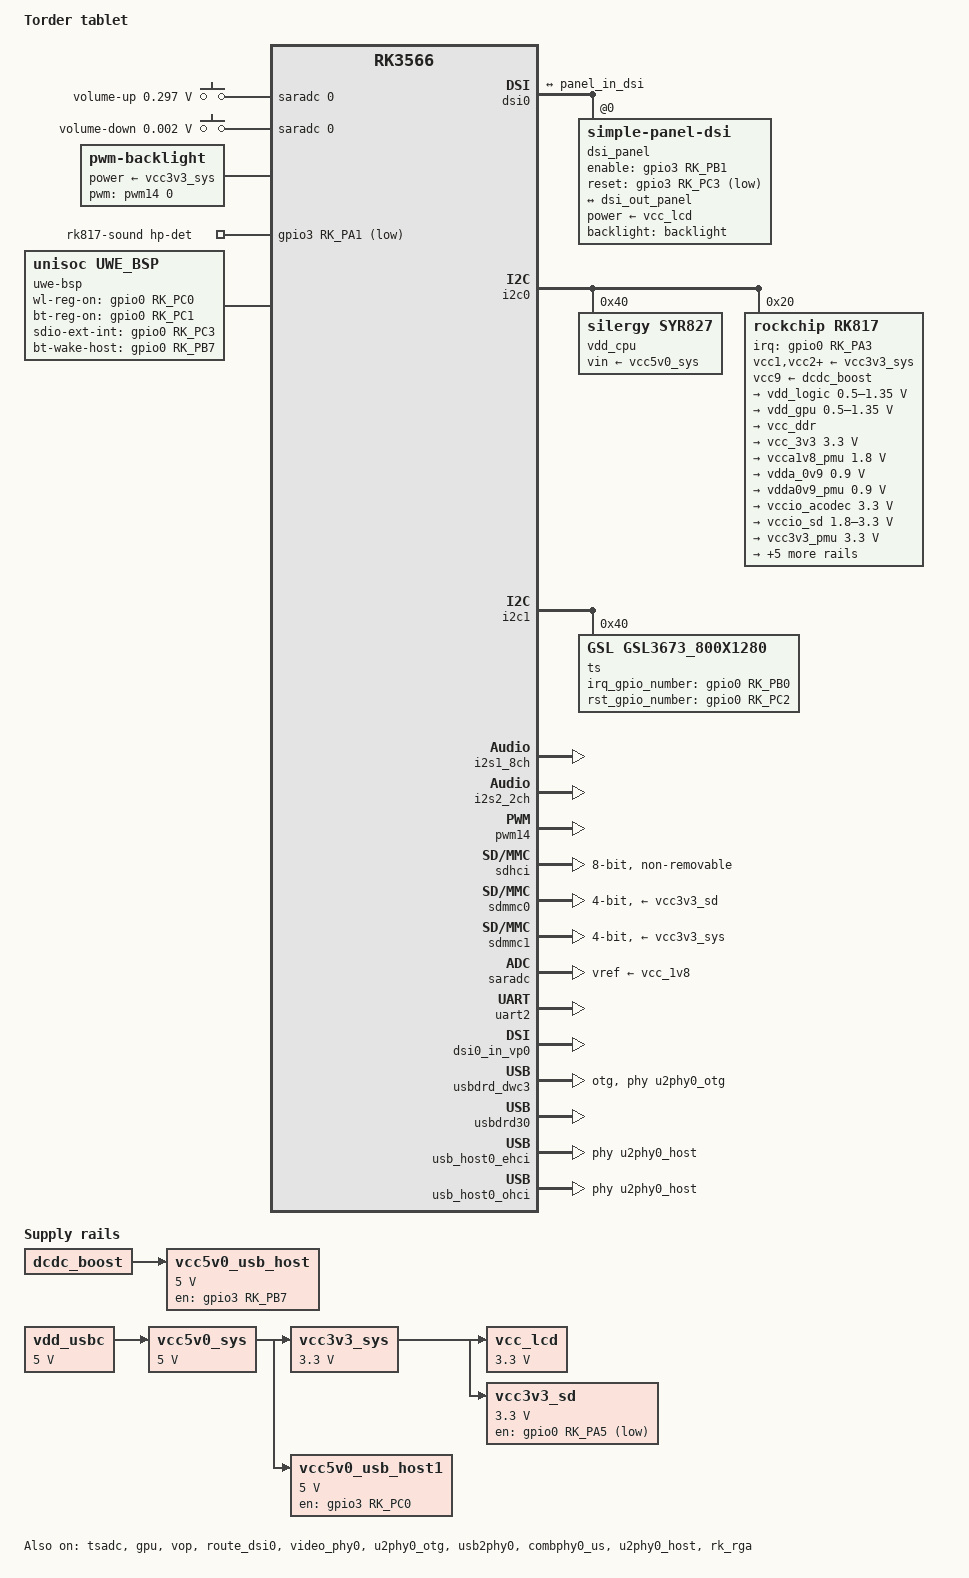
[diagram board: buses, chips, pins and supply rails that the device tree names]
// SPDX-License-Identifier: GPL-2.0-or-later OR MIT
/*
 * Copyright (c) 2025 Serhii Serhieiev <adron@ngnp.net>
 */

/dts-v1/;
#include <dt-bindings/gpio/gpio.h>
#include <dt-bindings/input/input.h>
#include <dt-bindings/leds/common.h>
#include <dt-bindings/sensor-dev.h>
#include <dt-bindings/pinctrl/rockchip.h>
#include <dt-bindings/display/drm_mipi_dsi.h>
#include "rk3566.dtsi"
#include "rk3568-android.dtsi"

/ {
	model = "Torder tablet";
	compatible = "torder,tablet", "rockchip,rk3566";

	aliases {
		mmc0 = &sdhci;
		mmc1 = &sdmmc0;
		mmc2 = &sdmmc1;
	};

	chosen: chosen {
		bootargs = "earlycon=uart8250,mmio32,0xfe660000 console=ttyFIQ0 root=PARTUUID=614e0000-0000 rw rootwait";
	};

	adc-keys {
		compatible = "adc-keys";
		io-channels = <&saradc 0>;
		io-channel-names = "buttons";
		keyup-threshold-microvolt = <1800000>;
		poll-interval = <100>;

		vol-up-key {
			label = "volume-up";
			linux,code = <KEY_VOLUMEUP>;
			press-threshold-microvolt = <297500>;
		};
		vol-down-key {
			label = "volume-down";
			linux,code = <KEY_VOLUMEDOWN>;
			press-threshold-microvolt = <1750>;
		};
	};


	backlight: backlight {
		compatible = "pwm-backlight";
		power-supply = <&vcc3v3_sys>;
		pwms = <&pwm14 0 25000 0>;
		brightness-levels = <
			0		20	20	21	21	22	22	23
			23	24	24	25	25	26	26	27
			27	28	28	29	29	30	30	31
			31	32	32	33	33	34	34	35
			35	36	36	37	37	38	38	39
			40	41	42	43	44	45	46	47
			48	49	50	51	52	53	54	55
			56	57	58	59	60	61	62	63
			64	65	66	67	68	69	70	71
			72	73	74	75	76	77	78	79
			80	81	82	83	84	85	86	87
			88	89	90	91	92	93	94	95
			96	97	98	99	100	101	102	103
			104	105	106	107	108	109	110	111
			112	113	114	115	116	117	118	119
			120	121	122	123	124	125	126	127
			128	129	130	131	132	133	134	135
			136	137	138	139	140	141	142	143
			144	145	146	147	148	149	150	151
			152	153	154	155	156	157	158	159
			160	161	162	163	164	165	166	167
			168	169	170	171	172	173	174	175
			176	177	178	179	180	181	182	183
			184	185	186	187	188	189	190	191
			192	193	194	195	196	197	198	199
			200	201	202	203	204	205	206	207
			208	209	210	211	212	213	214	215
			216	217	218	219	220	221	222	223
			224	225	226	227	228	229	230	231
			232	233	234	235	236	237	238	239
			240	241	242	243	244	245	246	247
			248	249	250	251	252	253	254	255>;
		default-brightness-level = <128>;
	};

	charge-animation {
		compatible = "rockchip,uboot-charge";
		rockchip,uboot-charge-on = <1>;
		rockchip,android-charge-on = <0>;
		rockchip,uboot-low-power-voltage = <3350>;
		rockchip,screen-on-voltage = <3400>;
		status = "okay";
	};

	rk817-sound {
		compatible = "rockchip,multicodecs-card";
		rockchip,card-name = "rockchip-rk817";
		hp-det-gpio = <&gpio3 RK_PA1 GPIO_ACTIVE_LOW>;
		rockchip,format = "i2s";
		rockchip,mclk-fs = <256>;
		rockchip,cpu = <&i2s1_8ch>;
		rockchip,codec = <&rk817_codec>;
		pinctrl-names = "default";
		pinctrl-0 = <&hp_det>;
		status = "okay";
	};

	bt_sco: bt-sco {
		/* Bluetooth-SCO (Synchronous Connection-Oriented link) audio CODEC */
		compatible = "delta,dfbmcs320";
		#sound-dai-cells = <0>;
		status = "okay";
	};

	bt-sound {
		compatible = "simple-audio-card";
		simple-audio-card,format = "dsp_b";
		simple-audio-card,bitclock-inversion = <1>;
		simple-audio-card,mclk-fs = <256>;
		simple-audio-card,name = "rockchip,bt";
		simple-audio-card,bitclock-master = <&bt_sco>;
		simple-audio-card,frame-master = <&bt_sco>;
		simple-audio-card,widgets =
			"Microphone", "RX",
			"Speaker", "TX";
		simple-audio-card,routing =
			"BT_SCO_TX", "RX",
			"TX", "BT_SCO_RX";

		simple-audio-card,codec {
			sound-dai = <&bt_sco>;
		};

		simple-audio-card,cpu {
			sound-dai = <&i2s2_2ch>;
		};

	};

	sdio_pwrseq: sdio-pwrseq {
		compatible = "mmc-pwrseq-simple";
		clocks = <&rk817 1>;
		clock-names = "ext_clock";
		/* The UWE driver (uwe-bsp) is responsible for chip power control.
		 * Do not use mmc-pwrseq reset control, otherwise SDIO card detection will fail.
		 */
	};

	sprd-wlan {
		compatible = "sprd,unisoc-wifi"; 
		status = "okay";
	};

	sprd-mtty {
		compatible = "sprd,mtty";
		sprd,name = "ttyBT";
		status = "okay";
	};

	uwe-bsp {
		// Think of the BSP as the glue between the Linux kernel and the hardware — it ensures the UWE5621DS can initialize,
		// communicate, and function properly on your board. Without it, the kernel won’t know how to talk to the chip,
		// even if the hardware is present.
		compatible = "unisoc,uwe_bsp";
		sdhci-name = <&sdmmc1>;
		wl-reg-on = <&gpio0 RK_PC0 GPIO_ACTIVE_HIGH>;
		bt-reg-on = <&gpio0 RK_PC1 GPIO_ACTIVE_HIGH>;
		sdio-ext-int-gpio = <&gpio0 RK_PC3 GPIO_ACTIVE_HIGH>;
		unisoc,btwf-file-name = "/lib/firmware/uwe5621ds/wcnmodem_2ant.bin";
		bt-wake-host;
		bt-wake-host-gpio = <&gpio0 RK_PB7 GPIO_ACTIVE_HIGH>;
		blksz-512;
		keep-power-on;
		//data-irq;
		sdma-tx;
		sdma-rx;
		status = "okay";
	};

	vdd_usbc: vdd-usbc-regulator {
		compatible = "regulator-fixed";
		regulator-name = "vdd_usbc";
		regulator-always-on;
		regulator-boot-on;
		regulator-min-microvolt = <5000000>;
		regulator-max-microvolt = <5000000>;
	};

	vcc3v3_sys: regulator-vcc3v3-sys {
		compatible = "regulator-fixed";
		regulator-name = "vcc3v3_sys";
		regulator-always-on;
		regulator-boot-on;
		regulator-min-microvolt = <3300000>;
		regulator-max-microvolt = <3300000>;
		vin-supply = <&vcc5v0_sys>;
	};

	vcc_lcd: regulator-vcc-lcd {
		compatible = "regulator-fixed";
		regulator-name = "vcc_lcd";
		regulator-always-on;
		regulator-boot-on;
		regulator-min-microvolt = <3300000>;
		regulator-max-microvolt = <3300000>;
		vin-supply = <&vcc3v3_sys>;
	};

	vcc5v0_sys: regulator-vcc5v0-sys {
		compatible = "regulator-fixed";
		regulator-name = "vcc5v0_sys";
		regulator-always-on;
		regulator-boot-on;
		regulator-min-microvolt = <5000000>;
		regulator-max-microvolt = <5000000>;
		vin-supply = <&vdd_usbc>;
	};

	
	vcc5v0_usb_host1: regulator-vcc5v0-usb2-host1 {
		compatible = "regulator-fixed";
		enable-active-high;
		gpio = <&gpio3 RK_PC0 GPIO_ACTIVE_HIGH>;
		pinctrl-names = "default";
		pinctrl-0 = <&vcc5v0_usb_host1_en>;
		regulator-name = "vcc5v0_usb2_host1";
		regulator-always-on;
		regulator-boot-on;
		regulator-min-microvolt = <5000000>;
		regulator-max-microvolt = <5000000>;
		vin-supply = <&vcc5v0_sys>;
	}; 

	vcc5v0_usb_host: regulator-vcc5v0-usb2-host {
		compatible = "regulator-fixed";
		enable-active-high;
		gpio = <&gpio3 RK_PB7 GPIO_ACTIVE_HIGH>;
		pinctrl-names = "default";
		pinctrl-0 = <&vcc5v0_usb_host_en>;
		regulator-name = "vcc5v0_usb2_host";
		regulator-always-on;
		regulator-boot-on;
		regulator-min-microvolt = <5000000>;
		regulator-max-microvolt = <5000000>;
		vin-supply = <&dcdc_boost>;
	}; 

	vcc3v3_sd: vcc3v3_sd {
		compatible = "regulator-fixed";
		gpio = <&gpio0 RK_PA5 GPIO_ACTIVE_LOW>;
		pinctrl-names = "default";
		pinctrl-0 = <&vcc_sd_h>;
		regulator-boot-on;
		regulator-name = "vcc3v3_sd";
		regulator-min-microvolt = <3300000>;
		regulator-max-microvolt = <3300000>;
		vin-supply = <&vcc3v3_sys>;
	};
};

&cpu0 {
	cpu-supply = <&vdd_cpu>;
};

&cpu1 {
	cpu-supply = <&vdd_cpu>;
};

&cpu2 {
	cpu-supply = <&vdd_cpu>;
};

&cpu3 {
	cpu-supply = <&vdd_cpu>;
};

&dsi0 {
	status = "okay";
	#address-cells = <1>;
	#size-cells = <0>;

	dsi_panel: panel@0 {
		status = "okay";
		compatible = "simple-panel-dsi";
		reg = <0>;

		backlight = <&backlight>;
		enable-gpios = <&gpio3 RK_PB1 GPIO_ACTIVE_HIGH>;
		reset-gpios = <&gpio3 RK_PC3 GPIO_ACTIVE_LOW>;

		pinctrl-names = "default";
		pinctrl-0 = <&lcd_rst &lcd_en>;

		power-supply=<&vcc_lcd>;

		enable-delay-ms = <120>;
		prepare-delay-ms = <20>;
		reset-delay-ms = <20>;
		init-delay-ms = <20>;
		unprepare-delay-ms = <20>;
		disable-delay-ms = <20>;

		size,width = <135>;
		size,height = <216>;

		dsi,flags = <(MIPI_DSI_MODE_VIDEO | MIPI_DSI_MODE_VIDEO_BURST | MIPI_DSI_MODE_LPM)>;
		dsi,format = <MIPI_DSI_FMT_RGB888>;
		dsi,lanes  = <4>;

		panel-init-sequence = [
			15 00 02 e0 00 15 00 02 e1 93 15 00 02 e2 65 15 00 
			02 e3 f8 15 00 02 80 03 15 00 02 e0 01 15 00 02 00 
			00 15 00 02 01 3c 15 00 02 17 00 15 00 02 0c 74 15 
			00 02 18 af 15 00 02 19 01 15 00 02 1a 00 15 00 02 
			1b af 15 00 02 1c 01 15 00 02 1f 3e 15 00 02 20 28 
			15 00 02 21 28 15 00 02 22 7e 15 00 02 35 26 15 00 
			02 37 09 15 00 02 38 04 15 00 02 39 00 15 00 02 3a 
			01 15 00 02 3c 7c 15 00 02 3d ff 15 00 02 3e ff 15 
			00 02 3f 7f 15 00 02 40 06 15 00 02 41 a0 15 00 02 
			42 81 15 00 02 43 08 15 00 02 44 0b 15 00 02 45 28 
			15 00 02 55 02 15 00 02 57 69 15 00 02 59 0a 15 00 
			02 5a 28 15 00 02 5b 14 15 00 02 5d 7c 15 00 02 5e 
			65 15 00 02 5f 55 15 00 02 60 47 15 00 02 61 43 15 
			00 02 62 32 15 00 02 63 34 15 00 02 64 1c 15 00 02 
			65 33 15 00 02 66 31 15 00 02 67 30 15 00 02 68 4e 
			15 00 02 69 3c 15 00 02 6a 44 15 00 02 6b 35 15 00 
			02 6c 31 15 00 02 6d 23 15 00 02 6e 11 15 00 02 6f 
			00 15 00 02 70 7c 15 00 02 71 65 15 00 02 72 55 15 
			00 02 73 47 15 00 02 74 43 15 00 02 75 32 15 00 02 
			76 34 15 00 02 77 1c 15 00 02 78 33 15 00 02 79 31 
			15 00 02 7a 30 15 00 02 7b 4e 15 00 02 7c 3c 15 00 
			02 7d 44 15 00 02 7e 35 15 00 02 7f 31 15 00 02 80 
			23 15 00 02 81 11 15 00 02 82 00 15 00 02 e0 02 15 
			00 02 00 1e 15 00 02 01 1e 15 00 02 02 41 15 00 02 
			03 41 15 00 02 04 43 15 00 02 05 43 15 00 02 06 1f 
			15 00 02 07 1f 15 00 02 08 35 15 00 02 09 1f 15 00 
			02 0a 15 15 00 02 0b 15 15 00 02 0c 1f 15 00 02 0d 
			47 15 00 02 0e 47 15 00 02 0f 45 15 00 02 10 45 15 
			00 02 11 4b 15 00 02 12 4b 15 00 02 13 49 15 00 02 
			14 49 15 00 02 15 1f 15 00 02 16 1e 15 00 02 17 1e 
			15 00 02 18 40 15 00 02 19 40 15 00 02 1a 42 15 00 
			02 1b 42 15 00 02 1c 1f 15 00 02 1d 1f 15 00 02 1e 
			35 15 00 02 1f 1f 15 00 02 20 15 15 00 02 21 15 15 
			00 02 22 1f 15 00 02 23 46 15 00 02 24 46 15 00 02 
			25 44 15 00 02 26 44 15 00 02 27 4a 15 00 02 28 4a 
			15 00 02 29 48 15 00 02 2a 48 15 00 02 2b 1f 15 00 
			02 2c 1f 15 00 02 2d 1f 15 00 02 2e 42 15 00 02 2f 
			42 15 00 02 30 40 15 00 02 31 40 15 00 02 32 1e 15 
			00 02 33 1e 15 00 02 34 1f 15 00 02 35 1f 15 00 02 
			36 1e 15 00 02 37 1e 15 00 02 38 1f 15 00 02 39 48 
			15 00 02 3a 48 15 00 02 3b 4a 15 00 02 3c 4a 15 00 
			02 3d 44 15 00 02 3e 44 15 00 02 3f 46 15 00 02 40 
			46 15 00 02 41 1f 15 00 02 42 1f 15 00 02 43 1f 15 
			00 02 44 43 15 00 02 45 43 15 00 02 46 41 15 00 02 
			47 41 15 00 02 48 1e 15 00 02 49 1e 15 00 02 4a 1e 
			15 00 02 4b 1f 15 00 02 4c 1e 15 00 02 4d 1e 15 00 
			02 4e 1f 15 00 02 4f 49 15 00 02 50 49 15 00 02 51 
			4b 15 00 02 52 4b 15 00 02 53 45 15 00 02 54 45 15 
			00 02 55 47 15 00 02 56 47 15 00 02 57 1f 15 00 02 
			58 40 15 00 02 5b 30 15 00 02 5c 03 15 00 02 5d 30 
			15 00 02 5e 01 15 00 02 5f 02 15 00 02 63 14 15 00 
			02 64 6a 15 00 02 67 73 15 00 02 68 05 15 00 02 69 
			14 15 00 02 6a 6a 15 00 02 6b 08 15 00 02 6c 00 15 
			00 02 6d 06 15 00 02 6e 00 15 00 02 6f 88 15 00 02 
			77 dd 15 00 02 79 0e 15 00 02 7a 03 15 00 02 7d 14 
			15 00 02 7e 6a 15 00 02 e0 04 15 00 02 09 11 15 00 
			02 0e 48 15 00 02 2d 03 15 00 02 2b 08 15 00 02 2e 
			03 15 00 02 e0 00 15 00 02 e6 02 15 00 02 e7 0c 05 
			78 01 11 05 64 01 29
		];

		panel-exit-sequence = [
			05 01 01 28 
			05 03 01 10
		];

		disp_timings0: display-timings {
			native-mode = <&dsi_timing0>;
			dsi_timing0: timing0 {
				clock-frequency = <60000000>;
				hactive = <800>;
				vactive = <1280>;

				hsync-len = <18>;
				hback-porch = <18>;
				hfront-porch = <18>;

				vsync-len = <4>;
				vback-porch = <8>;
				vfront-porch = <24>;

				hsync-active = <0>;
				vsync-active = <0>;
				de-active = <0>;
				pixelclk-active = <1>;
			};
		};

 		ports {
 			#address-cells = <1>;
 			#size-cells = <0>;
 			port@0 {
 				reg = <0>;
 				panel_in_dsi: endpoint {
 					remote-endpoint = <&dsi_out_panel>;
 				};
 			};
 		};
	};

	ports {
		#address-cells = <1>;
		#size-cells = <0>;
		port@1 {
			reg = <1>;
			dsi_out_panel: endpoint {
				remote-endpoint = <&panel_in_dsi>;
			};
		};
	};
};

&i2c0 {
	status = "okay";

	vdd_cpu: regulator@40 {
		compatible = "silergy,syr827";
		reg = <0x40>;
		regulator-compatible = "fan53555-reg";
		fcs,suspend-voltage-selector = <1>;
		regulator-name = "vdd_cpu";
		regulator-min-microvolt = <712500>;
		regulator-max-microvolt = <1390000>;
		regulator-ramp-delay = <2300>;
		regulator-always-on;
		regulator-boot-on;
		vin-supply = <&vcc5v0_sys>;

		regulator-state-mem {
			regulator-off-in-suspend;
		};
	};

	rk817: pmic@20 {
		compatible = "rockchip,rk817";
		reg = <0x20>;
		interrupt-parent = <&gpio0>;
		interrupts = <RK_PA3 IRQ_TYPE_LEVEL_LOW>;
		clock-output-names = "rk808-clkout1", "rk808-clkout2";
		#clock-cells = <1>;
		pinctrl-names = "default", "pmic-sleep",
				"pmic-power-off", "pmic-reset";
		pinctrl-0 = <&pmic_int_l>;
		pinctrl-1 = <&soc_slppin_slp>, <&rk817_slppin_slp>;
		pinctrl-2 = <&soc_slppin_gpio>, <&rk817_slppin_pwrdn>;
		pinctrl-3 = <&soc_slppin_gpio>, <&rk817_slppin_rst>;
		rockchip,system-power-controller;
		#sound-dai-cells = <0>;
		wakeup-source;
		pmic-reset-func = <0>;
		not-save-power-en = <1>;

		vcc1-supply = <&vcc3v3_sys>;
		vcc2-supply = <&vcc3v3_sys>;
		vcc3-supply = <&vcc3v3_sys>;
		vcc4-supply = <&vcc3v3_sys>;
		vcc5-supply = <&vcc3v3_sys>;
		vcc6-supply = <&vcc3v3_sys>;
		vcc7-supply = <&vcc3v3_sys>;
		vcc8-supply = <&vcc3v3_sys>;
		vcc9-supply = <&dcdc_boost>;

		pwrkey {
			status = "okay";
		};

		pinctrl_rk8xx: pinctrl_rk8xx {
			gpio-controller;
			#gpio-cells = <2>;

			rk817_slppin_null: rk817_slppin_null {
				pins = "gpio_slp";
				function = "pin_fun0";
			};

			rk817_slppin_slp: rk817_slppin_slp {
				pins = "gpio_slp";
				function = "pin_fun1";
			};

			rk817_slppin_pwrdn: rk817_slppin_pwrdn {
				pins = "gpio_slp";
				function = "pin_fun2";
			};

			rk817_slppin_rst: rk817_slppin_rst {
				pins = "gpio_slp";
				function = "pin_fun3";
			};
		};

		regulators {
			vdd_logic: DCDC_REG1 {
				regulator-always-on;
				regulator-boot-on;
				regulator-min-microvolt = <500000>;
				regulator-max-microvolt = <1350000>;
				regulator-ramp-delay = <6001>;
				regulator-initial-mode = <0x2>;
				regulator-name = "vdd_logic";
				regulator-state-mem {
					regulator-on-in-suspend;
					regulator-suspend-microvolt = <900000>;
				};
			};

			vdd_gpu: DCDC_REG2 {
				regulator-always-on;
				regulator-boot-on;
				regulator-min-microvolt = <500000>;
				regulator-max-microvolt = <1350000>;
				regulator-ramp-delay = <6001>;
				regulator-initial-mode = <0x2>;
				regulator-name = "vdd_gpu";
				regulator-state-mem {
					regulator-off-in-suspend;
				};
			};

			vcc_ddr: DCDC_REG3 {
				regulator-always-on;
				regulator-boot-on;
				regulator-initial-mode = <0x2>;
				regulator-name = "vcc_ddr";
				regulator-state-mem {
					regulator-on-in-suspend;
				};
			};

			vcc_3v3: DCDC_REG4 {
				regulator-always-on;
				regulator-boot-on;
				regulator-min-microvolt = <3300000>;
				regulator-max-microvolt = <3300000>;
				regulator-initial-mode = <0x2>;
				regulator-name = "vcc_3v3";
				regulator-state-mem {
					regulator-off-in-suspend;
				};
			};

			vcca1v8_pmu: LDO_REG1 {
				regulator-always-on;
				regulator-boot-on;
				regulator-min-microvolt = <1800000>;
				regulator-max-microvolt = <1800000>;
				regulator-name = "vcca1v8_pmu";
				regulator-state-mem {
					regulator-on-in-suspend;
					regulator-suspend-microvolt = <1800000>;
				};
			};

			vdda_0v9: LDO_REG2 {
				regulator-always-on;
				regulator-boot-on;
				regulator-min-microvolt = <900000>;
				regulator-max-microvolt = <900000>;
				regulator-name = "vdda_0v9";
				regulator-state-mem {
					regulator-off-in-suspend;
				};
			};

			vdda0v9_pmu: LDO_REG3 {
				regulator-always-on;
				regulator-boot-on;
				regulator-min-microvolt = <900000>;
				regulator-max-microvolt = <900000>;
				regulator-name = "vdda0v9_pmu";
				regulator-state-mem {
					regulator-on-in-suspend;
					regulator-suspend-microvolt = <900000>;
				};
			};

			vccio_acodec: LDO_REG4 {
				regulator-always-on;
				regulator-boot-on;
				regulator-min-microvolt = <3300000>;
				regulator-max-microvolt = <3300000>;
				regulator-name = "vccio_acodec";
				regulator-state-mem {
					regulator-off-in-suspend;
				};
			};

			vccio_sd: LDO_REG5 {
				regulator-always-on;
				regulator-boot-on;
				regulator-min-microvolt = <1800000>;
				regulator-max-microvolt = <3300000>;
				regulator-name = "vccio_sd";
				regulator-state-mem {
					regulator-off-in-suspend;
				};
			};

			vcc3v3_pmu: LDO_REG6 {
				regulator-always-on;
				regulator-boot-on;
				regulator-min-microvolt = <3300000>;
				regulator-max-microvolt = <3300000>;
				regulator-name = "vcc3v3_pmu";
				regulator-state-mem {
					regulator-on-in-suspend;
					regulator-suspend-microvolt = <3300000>;
				};
			};

			vcc_1v8: LDO_REG7 {
				regulator-always-on;
				regulator-boot-on;
				regulator-min-microvolt = <1800000>;
				regulator-max-microvolt = <1800000>;
				regulator-name = "vcc_1v8";
				regulator-state-mem {
					regulator-off-in-suspend;
				};
			};

			vcc1v8_dvp: LDO_REG8 {
				regulator-always-on;
				regulator-boot-on;
				regulator-min-microvolt = <1800000>;
				regulator-max-microvolt = <1800000>;
				regulator-name = "vcc1v8_dvp";
				regulator-state-mem {
					regulator-off-in-suspend;
				};
			};

			vcc2v8_dvp: LDO_REG9 {
				regulator-always-on;
				regulator-boot-on;
				regulator-min-microvolt = <2800000>;
				regulator-max-microvolt = <2800000>;
				regulator-name = "vcc2v8_dvp";
				regulator-state-mem {
					regulator-off-in-suspend;
				};
			};

			dcdc_boost: BOOST {
				/* regulator-always-on; */
				/* regulator-boot-on; */
				regulator-min-microvolt = <5200000>;
				regulator-max-microvolt = <5400000>;
				regulator-name = "boost";
				regulator-state-mem {
					regulator-off-in-suspend;
				};
			};

			otg_switch: OTG_SWITCH {
				regulator-name = "otg_switch";
				regulator-state-mem {
					regulator-off-in-suspend;
				};
			};	
		};
		
		battery {
			compatible = "rk817,battery";
			ocv_table = <3400 3450 3500 3550 3600 3650 3700
						 3750 3800 3850 3900 3950 3999 4049
						 4099 4149 4199 4249 4299 4349 4399>;
			ntc_table = <45067 42950 40946 39048 37251 35548 33934 
						 32371 30952 29574 28267 27025 25846 24726 
						 23661 22649 21686 20771 19931 19070 18280 
						 17527 16810 16127 15476 14855 14262 13697 
						 13157 12645 12162 11702 11231 10770 10318 
						 9880 9616 9369 9121 8881 8646 8413 8192 
						 7971 7754 7547 7344 7148 6958 6774 6597 
						 6425 6257 6099 5948 5804 5668 5537 5405 
						 5280 3967 3839 3716 3597 3482 3372 3260 
						 3157 3050 2942 2838 2738 2641 2559 2512 
						 2448 2383 2315 2251 2192 2130 2072 2016 
						 1960 1908 1860 1811 1796 1636>;
			ntc_degree_from = <1 10>;
			design_capacity = <6074>;
			design_qmax = <6681>;
			bat_res = <110>;
			sleep_enter_current = <150>;
			sleep_exit_current = <180>;
			sleep_filter_current = <100>;
			power_off_thresd = <3400>;
			zero_algorithm_vol = <3950>;
			max_soc_offset = <60>;
			monitor_sec = <5>;
			sample_res = <10>;
			virtual_power = <0>;
		};

		charger {
			compatible = "rk817,charger";
			min_input_voltage = <4500>;
			max_input_current = <1500>;
			max_chrg_current = <2000>;
			max_chrg_voltage = <4300>;
			chrg_term_mode = <0>;
			chrg_finish_cur = <300>;
			virtual_power = <0>;
			dc_det_adc = <0>;
			extcon = <&usb2phy0>;
			otg_switch-supply = <&otg_switch>;
		};

		rk817_codec: codec {
			#sound-dai-cells = <0>;
			compatible = "rockchip,rk817-codec";
			clocks = <&cru I2S1_MCLKOUT>;
			clock-names = "mclk";
			assigned-clocks = <&cru I2S1_MCLKOUT>, <&cru I2S1_MCLK_TX_IOE>;
			assigned-clock-rates = <12288000>;
			assigned-clock-parents = <&cru I2S1_MCLKOUT_TX>, <&cru I2S1_MCLKOUT_TX>;
			pinctrl-names = "default";
			pinctrl-0 = <&i2s1m0_mclk>;
			hp-volume = <20>;
			spk-volume = <15>;
			use-ext-amplifier;
			spk-ctl-gpios = <&gpio3 RK_PA2 GPIO_ACTIVE_HIGH>;
			status = "okay";
		};
	};

};

&i2c1 {
	status = "okay";
	ts@40 {
		compatible = "GSL,GSL3673_800X1280";
		reg = <0x40>;
		irq_gpio_number = <&gpio0 RK_PB0 IRQ_TYPE_EDGE_FALLING>;
		rst_gpio_number = <&gpio0 RK_PC2 GPIO_ACTIVE_HIGH>;
		pinctrl-names = "default";
		pinctrl-0 = <&ts_int>;
	};
};

&i2s0_8ch {
	status = "disabled";
	/* HDMI */
};

&i2s1_8ch {
	status = "okay";
	rockchip,clk-trcm = <1>;
	pinctrl-names = "default";
	pinctrl-0 = <&i2s1m0_sclktx
		     &i2s1m0_lrcktx
		     &i2s1m0_sdi0
		     &i2s1m0_sdo0>;
	#sound-dai-cells = <0>;
	/* PMIC_RK817 */
};

&i2s2_2ch {
	rockchip,trcm-sync-tx-only;
	#sound-dai-cells = <0>;
	status = "okay";
	/* UWE5621 Bluetooth */
};

&pinctrl {
	pmic {
		pmic_int_l: pmic-int {
			rockchip,pins = <0 RK_PA3 RK_FUNC_GPIO &pcfg_pull_up>;
		};

		soc_slppin_gpio: soc_slppin_gpio {
			rockchip,pins = <0 RK_PA2 RK_FUNC_GPIO &pcfg_output_low>;
		};

		soc_slppin_slp: soc_slppin_slp {
			rockchip,pins = <0 RK_PA2 1 &pcfg_pull_none>;
		};

		soc_slppin_rst: soc_slppin_rst {
			rockchip,pins = <0 RK_PA2 2 &pcfg_pull_none>;
		};
	};

	usb {
		vcc5v0_usb_host1_en: vcc5v0-usb-host1-en {
			rockchip,pins = <3 RK_PC0 RK_FUNC_GPIO &pcfg_pull_none>;
		};

		vcc5v0_usb_host_en: vcc5v0-usb-otg-en {
			rockchip,pins = <3 RK_PB7 RK_FUNC_GPIO &pcfg_pull_none>;
		};
	};

	vcc_sd {
		vcc_sd_h: vcc-sd-h {
			rockchip,pins = <0 RK_PA5 RK_FUNC_GPIO &pcfg_pull_none>;
		};
	};

	lcd {
		lcd_rst: lcd-rst-gpio {
			rockchip,pins = <3 RK_PC3 RK_FUNC_GPIO &pcfg_pull_none>;
		};

		lcd_en: lcd-enable-gpio {
			rockchip,pins = <3 RK_PB1 RK_FUNC_GPIO &pcfg_pull_none>;
		};
	};

	sdio-pwrseq {
		wifi_enable_h: wifi-enable-h {
			rockchip,pins = <0 RK_PC0 RK_FUNC_GPIO &pcfg_pull_none>;
		};
	};

	hp-detect {
		hp_det: hp-det {
			rockchip,pins =
				<3 RK_PA1 RK_FUNC_GPIO &pcfg_pull_none>;
		};
	};
	ts {
		ts_int: ts-int {
			rockchip,pins = <0 RK_PB0 RK_FUNC_GPIO &pcfg_pull_up>;
		};
	};

};

&pmu_io_domains {
	pmuio1-supply = <&vcc3v3_pmu>;
	pmuio2-supply = <&vcca1v8_pmu>;
	vccio1-supply = <&vccio_acodec>;
	#vccio2-supply = <&vcc_1v8>; //Don`t use
	vccio3-supply = <&vccio_sd>;
	vccio4-supply = <&vcc_1v8>;
	vccio5-supply = <&vcc_3v3>;
	vccio6-supply = <&vcc1v8_dvp>;
	vccio7-supply = <&vcc_3v3>;
	status = "okay";
};

&pwm14 {
	status = "okay";
};

&sdhci {
    bus-width = <8>;
    max-frequency = <120000000>;  // Adjust eMMC max-frequency for compatibility.
    mmc-hs200-1_8v;
    non-removable;
    pinctrl-names = "default";
    pinctrl-0 = <&emmc_bus8 &emmc_clk &emmc_cmd>; // Emmc only run in hs200 mode.
    status = "okay";
};

&sdmmc0 { /* sd-card slot */
	bus-width = <4>;
	cap-mmc-highspeed;
	cap-sd-highspeed;
	disable-wp;
	sd-uhs-sdr104;
	pinctrl-names = "default";
	pinctrl-0 = <&sdmmc0_bus4 &sdmmc0_clk &sdmmc0_cmd &sdmmc0_det>;
	vmmc-supply = <&vcc3v3_sd>;
	vqmmc-supply = <&vccio_sd>;
	status = "okay";
};

&sdmmc1 { /* sdio0 */
	/* WiFi & BT combo module Unisoc UWE5621DS
	 * Using broken-cd to force MMC core to always assume card is present,
	 * allowing rescan to work when driver calls sdio_register_driver.
	 */
	bus-width = <4>;
	cap-sd-highspeed;
	cap-sdio-irq;
	supports-sdio;
	disable-wp;
	keep-power-in-suspend;
	broken-cd;
	pinctrl-names = "default";
	max-frequency = <150000000>;
	pinctrl-0 = <&sdmmc1_bus4 &sdmmc1_cmd &sdmmc1_clk>;
	sd-uhs-sdr104;
	rockchip,default-sample-phase = <90>;
	vmmc-supply = <&vcc3v3_sys>;
	vqmmc-supply = <&vcc_1v8>;
	status = "okay";
};

&tsadc {
	status = "okay";
};

&saradc {
	vref-supply = <&vcc_1v8>;
	status = "okay";
};

&uart1 { /* UWE5622 Bluetooth or GNSS? */
	pinctrl-0 = <&uart1m0_ctsn>, <&uart1m0_rtsn>, <&uart1m0_xfer>;
	pinctrl-names = "default";
	uart-has-rtscts;
	dma-names = "tx", "rx";
	status = "disabled";
};

&uart2 {
	status = "okay";
	pinctrl-names = "default";
	pinctrl-0 = <&uart2m0_xfer>;
};

&gpu {
	mali-supply = <&vdd_gpu>;
	status = "okay";
};

&vop {
	assigned-clocks = <&cru DCLK_VOP0>, <&cru DCLK_VOP1>;
	assigned-clock-parents = <&pmucru PLL_HPLL>, <&cru PLL_VPLL>;
	status = "okay";
};

&vop_mmu {
	status = "okay";
};

/* DSI For Panel*/
&route_dsi0 {
	status = "okay";
	connect = <&vp0_out_dsi0>;
};

&video_phy0 {
	status = "okay";
};

&dsi0_in_vp1 {
	status = "disabled";
};

&dsi0_in_vp0 {
	status = "okay";
};

/* Enable USB 3.0 OTG */
&u2phy0_otg {
	status = "okay";
};

&usb2phy0 {
	status = "okay";
};

&combphy0_us {
	status = "okay";
};

&usbdrd_dwc3 {
	dr_mode = "otg";  
	phys = <&u2phy0_otg>, <&combphy0_us PHY_TYPE_USB3>;
	phy-names = "usb2-phy", "usb3-phy";
	maximum-speed = "super-speed";  
	extcon = <&usb2phy0>;
	status = "okay";
};

&usbdrd30 {
	status = "okay";
};


/* Enable USB 2.0 Host */
&u2phy0_host {
	status = "okay";
};

&usb_host0_ehci {
	phys = <&u2phy0_host>;
	phy-names = "usb2-phy";
	status = "okay";
};

&usb_host0_ohci {
	phys = <&u2phy0_host>;
	phy-names = "usb2-phy";
	status = "okay";
};

&rk_rga {
	status = "okay";
};
